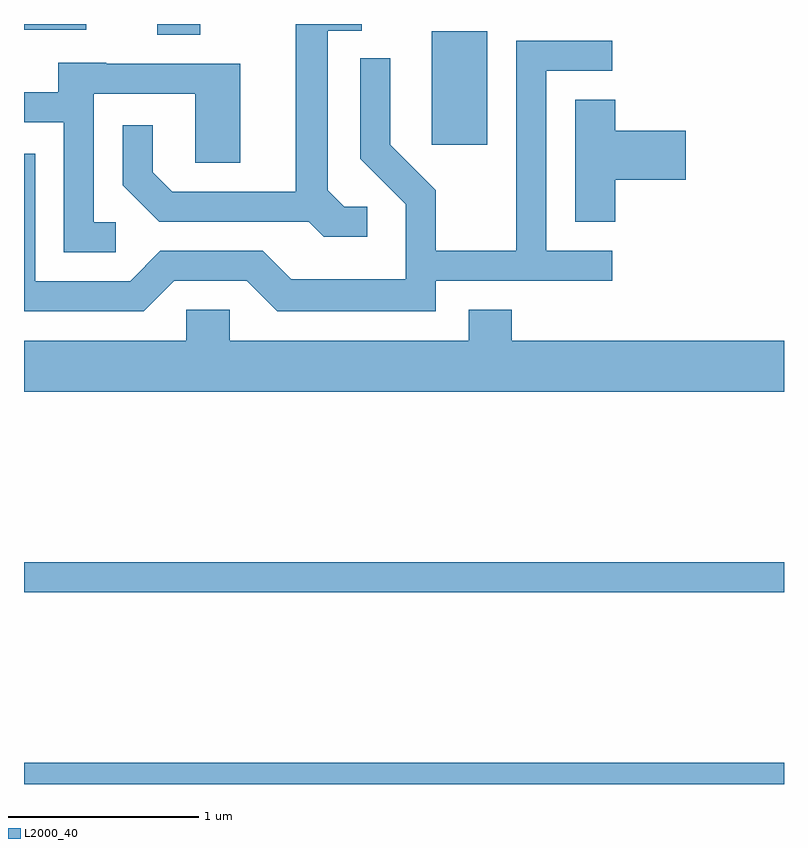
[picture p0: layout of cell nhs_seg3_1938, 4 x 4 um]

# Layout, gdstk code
import gdstk
lib = gdstk.Library(unit=1e-6, precision=1e-09)
def R(c, l, rs):  # rectangles x0, y0, x1, y1
    for r in rs: c.add(gdstk.rectangle(r[:2], r[2:], *l))
def P(c, l, *ps):  # polygons
    for p in ps: c.add(gdstk.Polygon(p, *l))
L2000_40 = (2000, 40)

nhs_seg3_1938 = lib.new_cell('nhs_seg3_1938')
R(nhs_seg3_1938, L2000_40, [(241.611,1183.892,245.611,1184.004), (241.611,1184.901,245.611,1185.059), (243.756,1187.256,244.049,1187.854), (242.311,1187.836,242.539,1187.892), (241.611,1187.861,241.938,1187.892)])
P(nhs_seg3_1938, L2000_40, [(243.418,1186.929),(243.297,1186.929),(243.209,1187.017),(243.209,1187.856),(243.388,1187.856),(243.388,1187.892),(243.041,1187.892),(243.041,1187.009),(242.392,1187.009),(242.289,1187.112),(242.289,1187.358),(242.131,1187.358),(242.131,1187.044),(242.324,1186.851),(243.109,1186.851),(243.189,1186.771),(243.418,1186.771)],
  [(242.402,1186.541),(242.784,1186.541),(242.944,1186.381),(243.779,1186.381),(243.779,1186.541),(244.708,1186.541),(244.708,1186.699),(244.359,1186.699),(244.359,1187.646),(244.708,1187.646),(244.708,1187.804),(244.201,1187.804),(244.201,1186.699),(243.779,1186.699),(243.779,1187.017),(243.539,1187.257),(243.539,1187.713),(243.381,1187.713),(243.381,1187.184),(243.621,1186.944),(243.621,1186.549),(243.017,1186.549),(242.867,1186.699),(242.329,1186.699),(242.169,1186.539),(241.669,1186.539),(241.669,1187.209),(241.611,1187.209),(241.611,1186.381),(242.242,1186.381)],
  [(242.093,1186.849),(241.979,1186.849),(241.979,1187.526),(242.511,1187.526),(242.511,1187.161),(242.749,1187.161),(242.749,1187.684),(242.045,1187.684),(242.045,1187.689),(241.791,1187.689),(241.791,1187.534),(241.611,1187.534),(241.611,1187.376),(241.821,1187.376),(241.821,1186.691),(242.093,1186.691)],
  [(244.724,1187.071),(245.094,1187.071),(245.094,1187.329),(244.724,1187.329),(244.724,1187.494),(244.511,1187.494),(244.511,1186.851),(244.724,1186.851)],
  [(242.466,1186.389),(242.466,1186.224),(241.611,1186.224),(241.611,1185.956),(245.611,1185.956),(245.611,1186.224),(244.179,1186.224),(244.179,1186.389),(243.951,1186.389),(243.951,1186.224),(242.694,1186.224),(242.694,1186.389)])

lib.write_gds('nhs_seg3_1938.gds')
